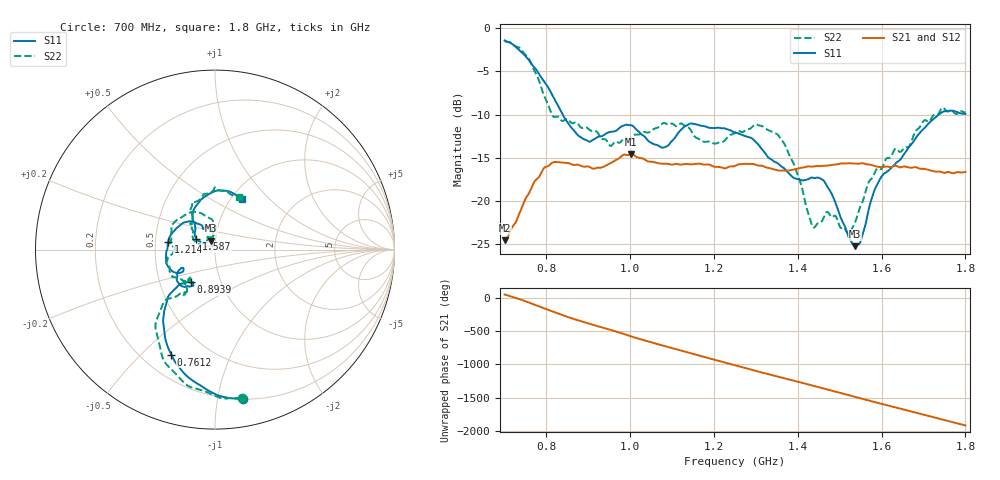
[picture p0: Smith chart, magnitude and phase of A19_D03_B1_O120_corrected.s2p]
! Created with skrf 1.9.0 (http://scikit-rf.org).
# Hz S RI R 50.0
!freq ReS11 ImS11 ReS21 ImS21 ReS12 ImS12 ReS22 ImS22
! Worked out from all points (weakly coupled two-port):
!   1601 points, 700 MHz to 1.8 GHz, reference 50 ohm
!   highest |S21| = -14.59 dB at 1.002 GHz (marker M1); lowest = -24.5 dB at 701.4 MHz (marker M2)
!   lowest |S11| = -25.2 dB at 1.536 GHz (marker M3), VSWR 1.12, Z = 47.5 + j4.74 ohm
!   |S11| at or under -10 dB: 838.6 MHz to 1.736 GHz (897.7 MHz wide, 69.7 % of centre)
!   |S22| runs from -23.8 to -1.5 dB; largest |S21 - S12| = 0.0035
!   S11 on the Smith chart (normalised r, x): 700 MHz: 0.20, -1.19; 761.2 MHz: 0.32, -0.62; 893.9 MHz: 0.72, -0.28; 1.214 GHz: 0.58, +0.05; 1.587 GHz: 0.80, +0.10; 1.8 GHz: 1.13, +0.70
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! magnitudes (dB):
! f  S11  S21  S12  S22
! 700 MHz  -1.4  -24.5  -24.3  -1.5
! 701.4 MHz  -1.5  -24.5  -24.2  -1.5
! 761.2 MHz  -4.0  -18.8  -18.7  -3.9
! 814.8 MHz  -7.8  -15.5  -15.6  -10.1
! 883.6 MHz  -12.7  -16.0  -15.8  -11.5
! 893.9 MHz  -12.9  -16.0  -16.1  -11.5
! 953 MHz  -12.0  -15.6  -15.6  -13.6
! 1.002 GHz  -11.2  -14.6  -14.7  -12.6
! 1.067 GHz  -13.6  -15.6  -15.6  -11.5
! 1.143 GHz  -11.0  -15.8  -15.7  -11.7
! 1.214 GHz  -11.6  -16.1  -16.1  -13.2
! 1.25 GHz  -12.1  -15.9  -15.9  -12.1
! 1.355 GHz  -15.8  -16.5  -16.4  -12.5
! 1.394 GHz  -17.4  -16.3  -16.3  -16.1
! 1.434 GHz  -17.3  -16.0  -16.0  -22.8
! 1.466 GHz  -17.9  -15.9  -15.9  -21.5
! 1.52 GHz  -24.0  -15.6  -15.6  -23.8
! 1.536 GHz  -25.2  -15.7  -15.7  -22.6
! 1.587 GHz  -18.3  -16.0  -16.0  -16.4
! 1.617 GHz  -16.5  -16.0  -16.0  -15.0
! 1.739 GHz  -9.9  -16.6  -16.6  -9.6
! 1.8 GHz  -9.9  -16.6  -16.6  -9.8
